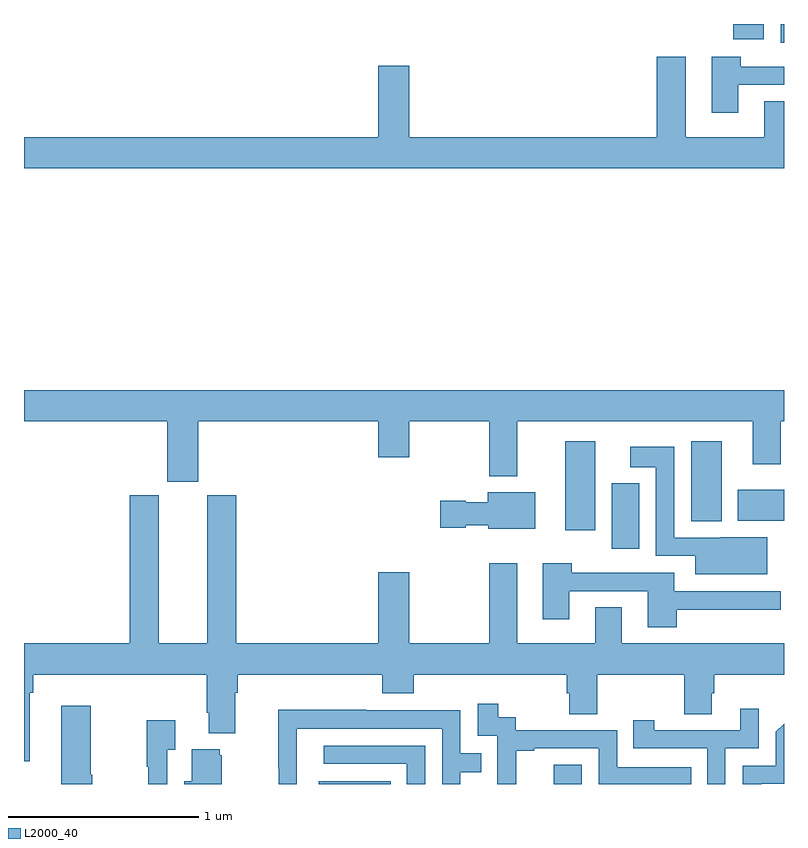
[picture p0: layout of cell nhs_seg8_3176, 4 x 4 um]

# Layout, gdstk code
import gdstk
lib = gdstk.Library(unit=1e-6, precision=1e-09)
def R(c, l, rs):  # rectangles x0, y0, x1, y1
    for r in rs: c.add(gdstk.rectangle(r[:2], r[2:], *l))
def P(c, l, *ps):  # polygons
    for p in ps: c.add(gdstk.Polygon(p, *l))
L2000_40 = (2000, 40)

nhs_seg8_3176 = lib.new_cell('nhs_seg8_3176')
R(nhs_seg8_3176, L2000_40, [(308.552,1139.9,308.93,1139.914), (309.789,1139.9,309.936,1140.001), (310.094,1141.137,310.237,1141.483), (309.848,1141.236,310.006,1141.705), (310.511,1141.283,310.672,1141.705), (310.757,1141.286,311,1141.45), (310.982,1143.801,311,1143.9), (310.733,1143.819,310.894,1143.9)])
P(nhs_seg8_3176, L2000_40, [(311,1143.494),(310.895,1143.494),(310.895,1143.304),(310.483,1143.304),(310.483,1143.727),(310.331,1143.727),(310.331,1143.304),(309.028,1143.304),(309.028,1143.679),(308.864,1143.679),(308.864,1143.304),(307,1143.304),(307,1143.14),(311,1143.14)],
  [(310.759,1143.579),(311,1143.579),(311,1143.675),(310.772,1143.675),(310.772,1143.727),(310.619,1143.727),(310.619,1143.432),(310.759,1143.432)],
  [(307.918,1141.808),(308.864,1141.808),(308.864,1141.62),(309.028,1141.62),(309.028,1141.808),(309.448,1141.808),(309.448,1141.52),(309.595,1141.52),(309.595,1141.808),(310.835,1141.808),(310.835,1141.584),(310.983,1141.584),(310.983,1141.808),(311,1141.808),(311,1141.972),(307,1141.972),(307,1141.808),(307.754,1141.808),(307.754,1141.491),(307.918,1141.491)],
  [(310.912,1141.198),(310.668,1141.198),(310.668,1141.197),(310.422,1141.197),(310.422,1141.675),(310.191,1141.675),(310.191,1141.568),(310.326,1141.568),(310.326,1141.101),(310.532,1141.101),(310.532,1141.004),(310.912,1141.004)],
  [(309.691,1141.435),(309.44,1141.435),(309.44,1141.384),(309.324,1141.384),(309.324,1141.392),(309.192,1141.392),(309.192,1141.25),(309.324,1141.25),(309.324,1141.262),(309.444,1141.262),(309.444,1141.244),(309.691,1141.244)],
  [(307.03,1140.38),(307.049,1140.38),(307.049,1140.476),(307.961,1140.476),(307.961,1140.274),(307.973,1140.274),(307.973,1140.167),(308.113,1140.167),(308.113,1140.38),(308.126,1140.38),(308.126,1140.476),(308.885,1140.476),(308.885,1140.377),(309.05,1140.377),(309.05,1140.476),(309.857,1140.476),(309.857,1140.378),(309.869,1140.378),(309.869,1140.268),(310.017,1140.268),(310.017,1140.476),(310.474,1140.476),(310.474,1140.268),(310.621,1140.268),(310.621,1140.378),(310.634,1140.378),(310.634,1140.476),(311,1140.476),(311,1140.64),(310.147,1140.64),(310.147,1140.83),(310.007,1140.83),(310.007,1140.64),(309.595,1140.64),(309.595,1141.063),(309.448,1141.063),(309.448,1140.64),(309.028,1140.64),(309.028,1141.015),(308.864,1141.015),(308.864,1140.64),(308.117,1140.64),(308.117,1141.419),(307.964,1141.419),(307.964,1140.64),(307.708,1140.64),(307.708,1141.419),(307.556,1141.419),(307.556,1140.64),(307,1140.64),(307,1140.021),(307.03,1140.021)],
  [(310.436,1140.818),(310.984,1140.818),(310.984,1140.915),(310.423,1140.915),(310.423,1141.011),(309.884,1141.011),(309.884,1141.063),(309.731,1141.063),(309.731,1140.768),(309.871,1140.768),(309.871,1140.915),(310.283,1140.915),(310.283,1140.726),(310.436,1140.726)],
  [(309.59,1140.075),(309.685,1140.075),(309.685,1140.087),(310.026,1140.087),(310.026,1139.9),(310.511,1139.9),(310.511,1139.988),(310.122,1139.988),(310.122,1140.183),(309.588,1140.183),(309.588,1140.252),(309.496,1140.252),(309.496,1140.322),(309.387,1140.322),(309.387,1140.153),(309.492,1140.153),(309.492,1139.924),(309.491,1139.924),(309.491,1139.9),(309.59,1139.9)],
  [(307.36,1139.949),(307.35,1139.949),(307.35,1140.313),(307.196,1140.313),(307.196,1139.9),(307.36,1139.9)],
  [(310.692,1140.087),(310.866,1140.087),(310.866,1140.295),(310.769,1140.295),(310.769,1140.183),(310.318,1140.183),(310.318,1140.235),(310.207,1140.235),(310.207,1140.087),(310.596,1140.087),(310.596,1139.9),(310.692,1139.9)],
  [(308.436,1140.192),(309.201,1140.192),(309.201,1139.9),(309.297,1139.9),(309.297,1139.962),(309.407,1139.962),(309.407,1140.063),(309.297,1140.063),(309.297,1140.288),(308.801,1140.288),(308.801,1140.29),(308.338,1140.29),(308.338,1139.983),(308.34,1139.983),(308.34,1139.9),(308.436,1139.9)],
  [(307.755,1140.079),(307.795,1140.079),(307.795,1140.235),(307.647,1140.235),(307.647,1139.99),(307.654,1139.99),(307.654,1139.9),(307.755,1139.9)],
  [(310.879,1139.901),(311,1139.901),(311,1140.218),(310.956,1140.174),(310.956,1139.997),(310.782,1139.997),(310.782,1139.9),(310.879,1139.9)],
  [(309.111,1140.102),(308.577,1140.102),(308.577,1140.006),(309.015,1140.006),(309.015,1139.9),(309.111,1139.9)],
  [(308.041,1140.051),(308.03,1140.051),(308.03,1140.082),(307.883,1140.082),(307.883,1139.914),(307.844,1139.914),(307.844,1139.9),(308.041,1139.9)])

lib.write_gds('nhs_seg8_3176.gds')
